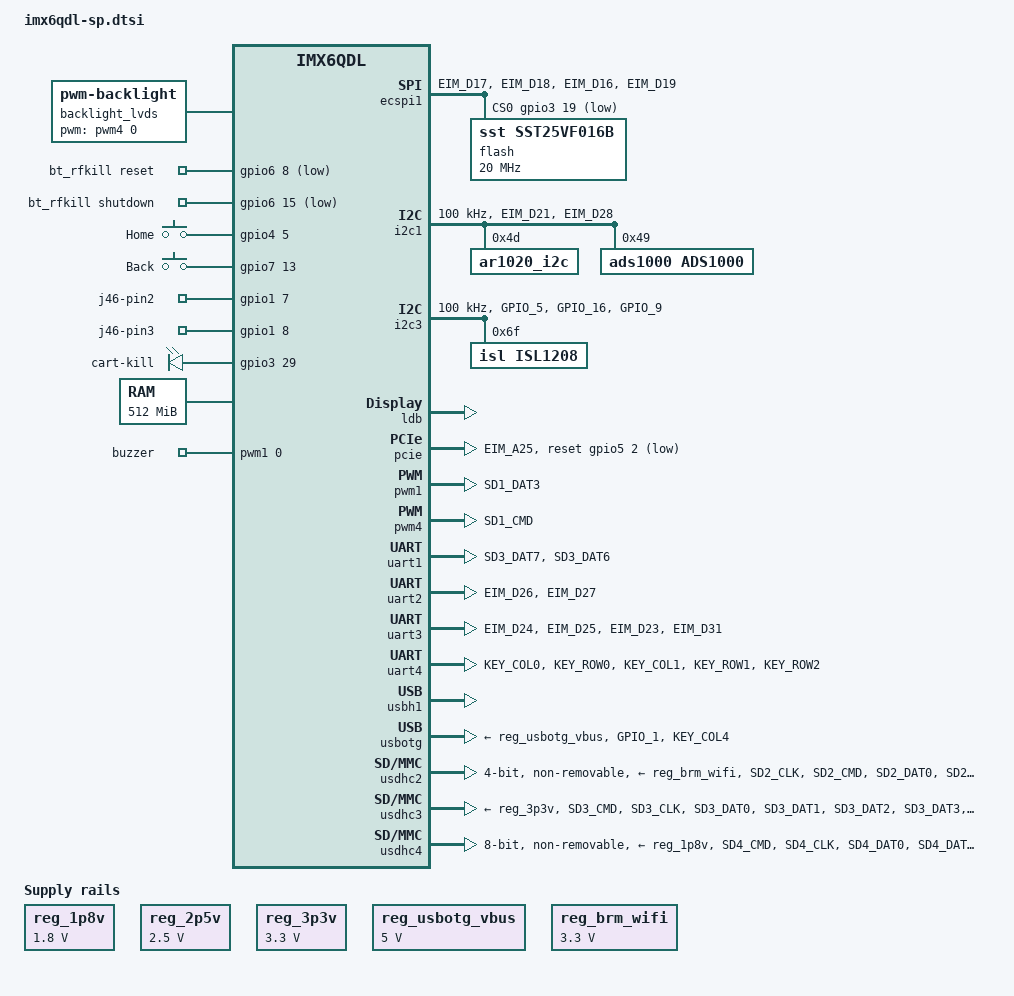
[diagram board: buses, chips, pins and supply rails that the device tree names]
/*
 * Copyright 2014 Boundary Devices
 * Copyright 2012 Freescale Semiconductor, Inc.
 * Copyright 2011 Linaro Ltd.
 *
 * The code contained herein is licensed under the GNU General Public
 * License. You may obtain a copy of the GNU General Public License
 * Version 2 or later at the following locations:
 *
 * http://www.opensource.org/licenses/gpl-license.html
 * http://www.gnu.org/copyleft/gpl.html
 */
#include <dt-bindings/gpio/gpio.h>
#include <dt-bindings/input/input.h>

/ {
	aliases {
		backlight_lvds = &backlight_lvds;
		fb_lvds = &fb_lvds;
		ldb = &ldb;
		mmc0 = &usdhc3;
		mmc1 = &usdhc4;
		mmc2 = &usdhc2;
		mxcfb0 = &fb_lvds;
		pwm_lvds = &pwm4;
		t_lvds = &t_lvds;
	};

	backlight_lvds: backlight_lvds {
		brightness-levels = <0 10 20 30 40 50 60 70 80 90 100>;
		compatible = "pwm-backlight";
		default-brightness-level = <10>;
		display = <&fb_lvds>;
		pwms = <&pwm4 0 5000000>;
	};

	bt_rfkill: bt_rfkill {
		compatible = "net,rfkill-gpio";
		name = "bt_rfkill";
		type = <2>;     /* bluetooth */
		pinctrl-names = "default";
		pinctrl-0 = <&pinctrl_bt_rfkill>;
		reset-gpios = <&gpio6 8 GPIO_ACTIVE_LOW>;
		shutdown-gpios = <&gpio6 15 GPIO_ACTIVE_LOW>;
	};

	gpio_keys: gpio-keys {
		compatible = "gpio-keys";
		pinctrl-names = "default";
		pinctrl-0 = <&pinctrl_gpio_keys>;
		home {
			label = "Home";
			gpios = <&gpio4 5 IRQ_TYPE_LEVEL_LOW>;
			linux,code = <102>; /* KEY_HOME */
		};

		back {
			label = "Back";
			gpios = <&gpio7 13 IRQ_TYPE_LEVEL_LOW>;
			linux,code = <158>; /* KEY_BACK */
		};
	};

	leds: leds {
		compatible = "gpio-leds";
		pinctrl-names = "default";
		pinctrl-0 = <&pinctrl_leds>;
		j46-pin2 {
			gpios = <&gpio1 7 0>;
			retain-state-suspended;
			default-state = "off";
		};

		j46-pin3 {
			gpios = <&gpio1 8 0>;
			retain-state-suspended;
			default-state = "off";
		};
		cart-kill {
			gpios = <&gpio3 29 0>;
			retain-state-suspended;
			default-state = "off";
		};
	};

	memory {
		reg = <0x10000000 0x20000000>;
	};

	fb_lvds: fb@0 {
		compatible = "fsl,mxc_sdc_fb";
		disp_dev = "ldb";
		interface_pix_fmt = "RGB666";
		default_bpp = <16>;
		int_clk = <0>;
		late_init = <0>;
		status = "okay";
	};

	pwmleds {
		compatible = "pwm-leds";
		piezo {
			label = "buzzer";
			pwms = <&pwm1 0 7812500>;
			max-brightness = <256>;
		};
	};

	regulators {
		compatible = "simple-bus";

		reg_1p8v: 1p8v {
			compatible = "regulator-fixed";
			regulator-name = "1P8V";
			regulator-min-microvolt = <1800000>;
			regulator-max-microvolt = <1800000>;
			regulator-always-on;
		};

		reg_2p5v: 2p5v {
			compatible = "regulator-fixed";
			regulator-name = "2P5V";
			regulator-min-microvolt = <2500000>;
			regulator-max-microvolt = <2500000>;
			regulator-always-on;
		};

		reg_3p3v: 3p3v {
			compatible = "regulator-fixed";
			regulator-name = "3P3V";
			regulator-min-microvolt = <3300000>;
			regulator-max-microvolt = <3300000>;
			regulator-always-on;
		};

		reg_usbotg_vbus: usbotg_vbus {
			compatible = "regulator-fixed";
			regulator-name = "usbotg_vbus";
			regulator-min-microvolt = <5000000>;
			regulator-max-microvolt = <5000000>;
		};

		reg_brm_wifi: brm_wlan {
			compatible = "regulator-fixed";
			regulator-name = "reg_brm_wifi";
			regulator-min-microvolt = <3300000>;
			regulator-max-microvolt = <3300000>;
		};
	};

	v4l2_out {
		compatible = "fsl,mxc_v4l2_output";
		status = "okay";
	};
};

&ecspi1 {
	fsl,spi-num-chipselects = <1>;
	cs-gpios = <&gpio3 19 GPIO_ACTIVE_LOW>;
	pinctrl-names = "default";
	pinctrl-0 = <&pinctrl_ecspi1>;
	status = "okay";

	flash: m25p80@0 {
		compatible = "sst,sst25vf016b";
		spi-max-frequency = <20000000>;
		reg = <0>;
		#address-cells = <1>;
		#size-cells = <1>;
		mtd@00000000 {
			label = "U-Boot";
			reg = <0x0 0xC0000>;
		};

		mtd@000C0000 {
			label = "env";
			reg = <0xC0000 0x2000>;
		};
		mtd@000C2000 {
			label = "splash";
			reg = <0xC2000 0x13e000>;
		};
	};
};

&i2c1 {
	clock-frequency = <100000>;
	pinctrl-names = "default";
	pinctrl-0 = <&pinctrl_i2c1>;
	status = "okay";

	ar1020_i2c@4d {
		pinctrl-names = "default";
		pinctrl-0 = <&pinctrl_i2c1_ar1020>;
		compatible = "ar1020_i2c";
		reg = <0x4d>;
#define GPIRQ_AR1020	<&gpio7 1 IRQ_TYPE_LEVEL_HIGH>
		interrupts-extended = GPIRQ_AR1020;
		wakeup-gpios = GPIRQ_AR1020;
	};
	ads1000@49 {
		compatible = "ads1000,ads1000";
		reg = <0x49>;
		numerator = <55000>;	/* 5V supply 500/50 (1/11) voltage divider */
		denominator = <2048>;	/* 12-bit A/D */
	};
};

&i2c3 {
	clock-frequency = <100000>;
	pinctrl-names = "default";
	pinctrl-0 = <&pinctrl_i2c3>;
	status = "okay";

	isl1208@6f {
		compatible = "isl,isl1208";
		pinctrl-names = "default";
		pinctrl-0 = <&pinctrl_rtc>;
		reg = <0x6f>;
#define GPIRQ_RTC_ISL1208	<&gpio2 26 IRQ_TYPE_EDGE_FALLING>
		interrupts-extended = GPIRQ_RTC_ISL1208;
	};
};

&iomuxc {
	iomuxc_imx6q_sp: iomuxc-imx6q-spgrp {
		status = "okay";
	};
};

&iomuxc_imx6q_sp {
	pinctrl_audmux3: audmux3grp {
		fsl,pins = <
			MX6QDL_PAD_CSI0_DAT7__AUD3_RXD		0x130b0
			MX6QDL_PAD_CSI0_DAT4__AUD3_TXC		0x130b0
			MX6QDL_PAD_CSI0_DAT5__AUD3_TXD		0x110b0
			MX6QDL_PAD_CSI0_DAT6__AUD3_TXFS		0x130b0
		>;
	};

	pinctrl_ecspi1: ecspi1grp {
		fsl,pins = <
			MX6QDL_PAD_EIM_D17__ECSPI1_MISO		0x100b1
			MX6QDL_PAD_EIM_D18__ECSPI1_MOSI		0x100b1
			MX6QDL_PAD_EIM_D16__ECSPI1_SCLK		0x100b1
			MX6QDL_PAD_EIM_D19__GPIO3_IO19		0x000b1
		>;
	};

	pinctrl_gpio_keys: gpio_keysgrp {
		fsl,pins = <
			MX6QDL_PAD_GPIO_18__GPIO7_IO13		0x1b0b0		/* J46 pin 4 - back button */
			MX6QDL_PAD_GPIO_19__GPIO4_IO05		0x1b0b0		/* J47 pin 5 - home button */
		>;
	};

	pinctrl_i2c1: i2c1grp {
		fsl,pins = <
			MX6QDL_PAD_EIM_D21__I2C1_SCL		0x4001b8b1
			MX6QDL_PAD_EIM_D28__I2C1_SDA		0x4001b8b1
		>;
	};

	pinctrl_i2c1_ar1020: i2c1_ar1020grp {
		fsl,pins = <
			MX6QDL_PAD_SD3_DAT4__GPIO7_IO01		0x100b0
		>;
	};

	pinctrl_i2c2: i2c2grp {
		fsl,pins = <
			MX6QDL_PAD_KEY_COL3__I2C2_SCL		0x4001b8b1
			MX6QDL_PAD_KEY_ROW3__I2C2_SDA		0x4001b8b1
		>;
	};

	pinctrl_i2c3: i2c3grp {
		fsl,pins = <
			MX6QDL_PAD_GPIO_5__I2C3_SCL		0x4001b8b1
			MX6QDL_PAD_GPIO_16__I2C3_SDA		0x4001b8b1
			MX6QDL_PAD_GPIO_9__GPIO1_IO09		0x1b0b0		/* J7 pin 4 - I2C3 */
		>;
	};

	pinctrl_ipu1_lvds: ipu1_lvdsgrp {
		fsl,pins = <
			MX6QDL_PAD_GPIO_17__GPIO7_IO12		0x1b0b0		/* J6 pin 19, DISP0_CONTRAST */
		>;
	};

	pinctrl_leds: ledsgrp {
		fsl,pins = <
			MX6QDL_PAD_GPIO_7__GPIO1_IO07		0x0b0b0		/* J46 pin 2 */
			MX6QDL_PAD_GPIO_8__GPIO1_IO08		0x0b0b0		/* J46 pin 3 */
			MX6QDL_PAD_EIM_D29__GPIO3_IO29		0x1b0b0		/* J46 pins 6-7 (Dry Contact) */
		>;
	};

	pinctrl_pcie: pciegrp {
		fsl,pins = <
			MX6QDL_PAD_EIM_A25__GPIO5_IO02		0x1b0b0		/* PCIe reset */
		>;
	};

	pinctrl_piezo: piezo {
		fsl,pins = <
			MX6QDL_PAD_SD1_DAT3__PWM1_OUT		0x1b0b0		/* Piezo speaker */
		>;
	};

	pinctrl_pwm1: pwm1grp {
		fsl,pins = <
			MX6QDL_PAD_SD1_DAT3__PWM1_OUT		0x1b0b1
		>;
	};

	pinctrl_pwm3: pwm3grp {
		fsl,pins = <
			MX6QDL_PAD_SD1_DAT1__PWM3_OUT		0x1b0b1
		>;
	};

	pinctrl_pwm4: pwm4grp {
		fsl,pins = <
			MX6QDL_PAD_SD1_CMD__PWM4_OUT		0x1b0b1
		>;
	};

	pinctrl_reg_brm_wifi: reg_brm_wifigrp {
		fsl,pins = <
#define GP_BRM_WL_EN		<&gpio6 7 GPIO_ACTIVE_HIGH>
			MX6QDL_PAD_NANDF_CLE__GPIO6_IO07	0x030b0		/* Wifi reg en(Broadcom) */
			MX6QDL_PAD_NANDF_D0__GPIO2_IO00		0x1b0b0		/* J10 pin 14 - Reserved(Broadcom) */
			MX6QDL_PAD_NANDF_D1__GPIO2_IO01		0x1b0b0		/* J10 pin 15 - Reserved(Broadcom) */
			MX6QDL_PAD_NANDF_D2__GPIO2_IO02		0x1b0b0		/* J10 pin 16 - Reserved(Broadcom) */
			MX6QDL_PAD_NANDF_D3__GPIO2_IO03		0x1b0b0		/* J10 pin 17 - Reserved(Broadcom) */
			MX6QDL_PAD_NANDF_D4__GPIO2_IO04		0x1b0b0		/* J10 pin 18 - Reserved(Broadcom) */
			MX6QDL_PAD_NANDF_WP_B__GPIO6_IO09	0x0b0b0		/* Clk req irq(Broadcom) */
			MX6QDL_PAD_NANDF_CS1__GPIO6_IO14	0x1b0b0		/* wake output(Broadcom) */
			MX6QDL_PAD_NANDF_CS3__GPIO6_IO16	0x100b0		/* BT host wake irq(Broadcom) */
			MX6QDL_PAD_SD1_CLK__OSC32K_32K_OUT	0x000b0		/* Broadcom slow clock */
		>;
	};

	pinctrl_rtc: rtcgrp {
		fsl,pins = <
			MX6QDL_PAD_EIM_RW__GPIO2_IO26		0x1b0b0
		>;
	};

	pinctrl_uart1: uart1grp {
		fsl,pins = <
			MX6QDL_PAD_SD3_DAT7__UART1_TX_DATA	0x1b0b1
			MX6QDL_PAD_SD3_DAT6__UART1_RX_DATA	0x1b0b1
		>;
	};

	pinctrl_uart2: uart2grp {
		fsl,pins = <
			MX6QDL_PAD_EIM_D26__UART2_TX_DATA	0x1b0b1
			MX6QDL_PAD_EIM_D27__UART2_RX_DATA	0x1b0b1
		>;
	};

	pinctrl_uart3: uart3grp {
		fsl,pins = <
			MX6QDL_PAD_EIM_D24__UART3_TX_DATA	0x1b0b1
			MX6QDL_PAD_EIM_D25__UART3_RX_DATA	0x1b0b1
			MX6QDL_PAD_EIM_D23__UART3_CTS_B		0x1b0b1
			MX6QDL_PAD_EIM_D31__UART3_RTS_B		0x1b0b1
		>;
	};

	pinctrl_uart4: uart4grp {
		fsl,pins = <
			MX6QDL_PAD_KEY_COL0__UART4_TX_DATA	0x1b0b1
			MX6QDL_PAD_KEY_ROW0__UART4_RX_DATA	0x1b0b1
			MX6QDL_PAD_KEY_COL1__GPIO4_IO08		0x1b0b1	/* GPS RESET */
			MX6QDL_PAD_KEY_ROW1__GPIO4_IO09		0x1b0b1	/* GPS INT */
			MX6QDL_PAD_KEY_ROW2__GPIO4_IO11		0x1b0b1	/* GPS heart beat */
		>;
	};

	pinctrl_usbotg: usbotggrp {
		fsl,pins = <
			MX6QDL_PAD_GPIO_1__USB_OTG_ID		0x17059
			MX6QDL_PAD_KEY_COL4__USB_OTG_OC		0x1b0b0
		>;
	};

	pinctrl_usbotg_vbus: usbotg_vbusgrp {
		fsl,pins = <
			/* power enable, high active */
#define GP_USB_OTG_PWR		<&gpio3 22 GPIO_ACTIVE_HIGH>
			MX6QDL_PAD_EIM_D22__GPIO3_IO22		0x030b0
		>;
	};

	pinctrl_usdhc2_50mhz: usdhc2_50mhzgrp {
		fsl,pins = <
			MX6QDL_PAD_SD2_CLK__SD2_CLK		0x10071
			MX6QDL_PAD_SD2_CMD__SD2_CMD		0x17071
			MX6QDL_PAD_SD2_DAT0__SD2_DATA0		0x17071
			MX6QDL_PAD_SD2_DAT1__SD2_DATA1		0x17071
			MX6QDL_PAD_SD2_DAT2__SD2_DATA2		0x17071
			MX6QDL_PAD_SD2_DAT3__SD2_DATA3		0x17071
		>;
	};

	/* USDHC3 - micro sd */
	pinctrl_usdhc3_50mhz: usdhc3_50mhzgrp {
		fsl,pins = <
			MX6QDL_PAD_SD3_CMD__SD3_CMD		0x17059
			MX6QDL_PAD_SD3_CLK__SD3_CLK		0x10059
			MX6QDL_PAD_SD3_DAT0__SD3_DATA0		0x17059
			MX6QDL_PAD_SD3_DAT1__SD3_DATA1		0x17059
			MX6QDL_PAD_SD3_DAT2__SD3_DATA2		0x17059
			MX6QDL_PAD_SD3_DAT3__SD3_DATA3		0x17059
#define GP_SD3_CD			<&gpio7 0 GPIO_ACTIVE_LOW>
			MX6QDL_PAD_SD3_DAT5__GPIO7_IO00		0x1b0b0
		>;
	};

	pinctrl_usdhc3_100mhz: usdhc3_100mhzgrp {
		fsl,pins = <
			MX6QDL_PAD_SD3_CLK__SD3_CLK		0x100b9
			MX6QDL_PAD_SD3_CMD__SD3_CMD		0x170b9
			MX6QDL_PAD_SD3_DAT0__SD3_DATA0		0x170b9
			MX6QDL_PAD_SD3_DAT1__SD3_DATA1		0x170b9
			MX6QDL_PAD_SD3_DAT2__SD3_DATA2		0x170b9
			MX6QDL_PAD_SD3_DAT3__SD3_DATA3		0x170b9
		>;
	};

	pinctrl_usdhc3_200mhz: usdhc3_200mhzgrp {
		fsl,pins = <
			MX6QDL_PAD_SD3_CLK__SD3_CLK		0x100f9
			MX6QDL_PAD_SD3_CMD__SD3_CMD		0x170f9
			MX6QDL_PAD_SD3_DAT0__SD3_DATA0		0x170f9
			MX6QDL_PAD_SD3_DAT1__SD3_DATA1		0x170f9
			MX6QDL_PAD_SD3_DAT2__SD3_DATA2		0x170f9
			MX6QDL_PAD_SD3_DAT3__SD3_DATA3		0x170f9
		>;
	};

	pinctrl_usdhc4_50mhz: usdhc4_50mhzgrp {
		fsl,pins = <
			MX6QDL_PAD_SD4_CMD__SD4_CMD		0x17059
			MX6QDL_PAD_SD4_CLK__SD4_CLK		0x10059
			MX6QDL_PAD_SD4_DAT0__SD4_DATA0		0x17059
			MX6QDL_PAD_SD4_DAT1__SD4_DATA1		0x17059
			MX6QDL_PAD_SD4_DAT2__SD4_DATA2		0x17059
			MX6QDL_PAD_SD4_DAT3__SD4_DATA3		0x17059
			MX6QDL_PAD_SD4_DAT4__SD4_DATA4		0x17059
			MX6QDL_PAD_SD4_DAT5__SD4_DATA5		0x17059
			MX6QDL_PAD_SD4_DAT6__SD4_DATA6		0x17059
			MX6QDL_PAD_SD4_DAT7__SD4_DATA7		0x17059
                        >;
                };

	pinctrl_bt_rfkill: bt_rfkillgrp {
		fsl,pins = <
			MX6QDL_PAD_NANDF_ALE__GPIO6_IO08	0x0b0b0		/* BT reset(Broadcom) */
			MX6QDL_PAD_NANDF_CS2__GPIO6_IO15	0x030b0		/* BT reg en(Broadcom) */
		>;
	};
};

&ldb {
	status = "okay";

	lvds-channel@0 {
		fsl,data-mapping = "spwg";
		fsl,data-width = <18>;
		crtc = "ipu1-di0";
        	primary;
		status = "okay";

		display-timings {
			t_lvds: t_lvds_default {
				/* lg97 values may be changed in bootscript */
				clock-frequency = <100000000>;
				hactive = <1024>;
				vactive = <768>;
				hback-porch = <260>;
				hfront-porch = <480>;
				vback-porch = <6>;
				vfront-porch = <16>;
				hsync-len = <250>;
				vsync-len = <10>;
			};
		};
	};
};

&pcie {
	pinctrl-names = "default";
	pinctrl-0 = <&pinctrl_pcie>;
	reset-gpio = <&gpio5 2 GPIO_ACTIVE_LOW>;
	status = "okay";
};

/* Piezo pwm */
&pwm1 {
	pinctrl-names = "default";
	pinctrl-0 = <&pinctrl_piezo>;
	status = "okay";
};

/* LVDS(J6) backlight */
&pwm4 {
	pinctrl-names = "default";
	pinctrl-0 = <&pinctrl_pwm4>;
	status = "okay";
};

&reg_brm_wifi {
	pinctrl-names = "default";
	pinctrl-0 = <&pinctrl_reg_brm_wifi>;
	gpio = GP_BRM_WL_EN;
	startup-delay-us = <70000>;
	enable-active-high;
};

&reg_usbotg_vbus {
	pinctrl-names = "default";
	pinctrl-0 = <&pinctrl_usbotg_vbus>;
	gpio = GP_USB_OTG_PWR;
	enable-active-high;
};

&uart1 {
	pinctrl-names = "default";
	pinctrl-0 = <&pinctrl_uart1>;
	status = "okay";
};

&uart2 {
	pinctrl-names = "default";
	pinctrl-0 = <&pinctrl_uart2>;
	status = "okay";
};

&uart3 {
	pinctrl-names = "default";
	pinctrl-0 = <&pinctrl_uart3>;
	fsl,uart-has-rtscts;
	status = "okay";
};

&uart4 {
	pinctrl-names = "default";
	pinctrl-0 = <&pinctrl_uart4>;
	status = "okay";
};

&usbh1 {
	status = "okay";
};

&usbotg {
	vbus-supply = <&reg_usbotg_vbus>;
	pinctrl-names = "default";
	pinctrl-0 = <&pinctrl_usbotg>;
	disable-over-current;
	status = "okay";
};

&usdhc2 {	/* uSDHC2, Broadcom */
	pinctrl-names = "default";
	pinctrl-0 = <&pinctrl_usdhc2_50mhz>;
	bus-width = <4>;
	non-removable;
	vmmc-supply = <&reg_brm_wifi>;
	vqmmc-1-8-v;
	cap-power-off-card;
	keep-power-in-suspend;
	status = "okay";
};

&usdhc3 {
	pinctrl-names = "default";
	pinctrl-0 = <&pinctrl_usdhc3_50mhz>;
	cd-gpios = GP_SD3_CD;
	vmmc-supply = <&reg_3p3v>;
	status = "okay";
};

&usdhc4 {
	pinctrl-names = "default";
	pinctrl-0 = <&pinctrl_usdhc4_50mhz>;
	bus-width = <8>;
	non-removable;
	vqmmc-1-8-v;
	vmmc-supply = <&reg_1p8v>;
	keep-power-in-suspend;
	status = "okay";
};
